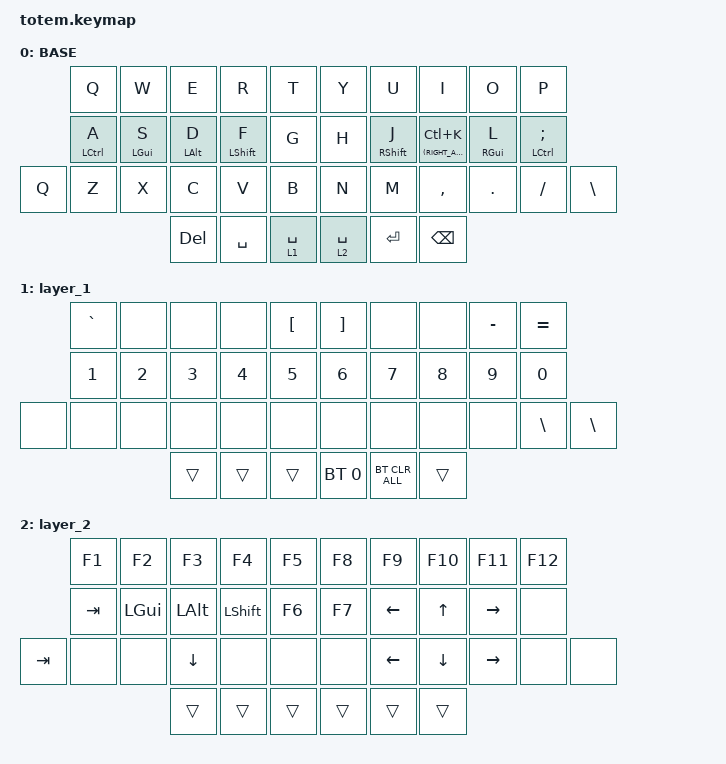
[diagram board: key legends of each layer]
//
//                                                        ▀▀▀▀▀     ▀▀▀▀▀          ▀▀█▀▀
//                                                        ▄▀▀▀▄  ▄  ▄▀▀▀▄  ▄  ▄▀▀▀▄  █  ▄▀▀▀▄
//                                                        █   █  █  █   █  █  █   █  █  █   █
//                                                         ▀▀▀   █   ▀▀▀   █   ▀▀▀   ▀   ▀▀▀
//                                                               █      ▄▄▄█▄▄▄    █   █  
//                                                               ▀      █  █  █     █▄█
//                                                             ▀▀▀▀▀    █  █  █      ▀
//                                                                      ▀  ▀  ▀
//
// ▄▄▄▄▄▄▄▄▄▄▄▄▄▄▄▄▄▄▄▄▄▄▄▄▄▄▄▄▄▄▄▄▄▄▄▄▄▄▄▄▄▄▄▄▄▄▄▄▄▄▄▄▄▄▄▄▄▄▄▄▄▄▄▄▄▄▄▄▄▄▄▄▄▄▄▄▄▄▄▄▄▄▄▄▄▄▄▄▄▄▄▄▄▄▄▄▄▄▄▄▄▄▄▄▄▄▄▄▄▄▄▄▄▄▄▄▄▄▄▄▄▄▄▄▄▄▄▄▄▄▄▄▄▄▄▄▄▄▄▄▄▄▄▄▄▄▄▄▄

#include <behaviors.dtsi>
#include <dt-bindings/zmk/bt.h>
#include <dt-bindings/zmk/keys.h>

#define BASE 0
#define NAV  1
#define SYM  2
#define ADJ  3
#define TVP1 4
#define TVP2 5

&mt {
    quick-tap-ms = <100>;
    global-quick-tap;
    flavor = "tap-preferred";
    tapping-term-ms = <170>;
};

/ {
    combos {
        compatible = "zmk,combos";

        combo_esc {
            timeout-ms = <50>;
            key-positions = <0 1>;
            bindings = <&Hm ESC GRAVE>;
        };
    };

    macros {
        gif: gif {
            label = "giphy";
            compatible = "zmk,behavior-macro";
            #binding-cells = <0>;
            bindings =
                <&macro_press>,
                <&kp LSHFT>,
                <&macro_tap>,
                <&kp N2>,
                <&macro_release>,
                <&kp LSHFT>,
                <&macro_tap>,
                <&kp G &kp I &kp F>;
        };
    };

    behaviors {
        Hm: Hm {
            compatible = "zmk,behavior-hold-tap";
            label = "HM";
            bindings = <&kp>, <&kp>;

            #binding-cells = <2>;
            tapping-term-ms = <239>;
            quick-tap-ms = <139>;
            require-prior-idle-ms = <(-1)>;
            flavor = "tap-preferred";
        };
    };

    keymap {
        compatible = "zmk,keymap";

        // ▄▄▄▄▄▄▄▄▄▄▄▄▄▄▄▄▄▄▄▄▄▄▄▄▄▄▄▄▄▄▄▄▄▄▄▄▄▄▄▄▄▄▄▄▄▄▄▄▄▄▄▄▄▄▄▄▄▄▄▄▄▄▄▄▄▄▄▄▄▄▄▄▄▄▄▄▄▄▄▄▄▄▄▄▄▄▄▄▄▄▄▄▄▄▄▄▄▄▄▄▄▄▄▄▄▄▄▄▄▄▄▄▄▄▄▄▄▄▄▄▄▄▄▄▄▄▄▄▄▄▄▄▄▄▄▄▄▄▄▄▄▄▄▄▄▄▄▄▄

        base_layer {
            // ┏━━━━━━━━━━━━━━━━━━━━━━━━━━━━━━━━━━━━━━━┓

            label = "BASE";

            // ┗━━━━━━━━━━━━━━━━━━━━━━━━━━━━━━━━━━━━━━━┛
            //             ┏━━━━━━━━━━━┳━━━━━━━━━━━┳━━━━━━━━━━━┳━━━━━━━━━━━┳━━━━━━━━━━━┓   ┏━━━━━━━━━━━┳━━━━━━━━━━━┳━━━━━━━━━━━┳━━━━━━━━━━━┳━━━━━━━━━━━┓
            //             ┃     Q     ┃     W     ┃     F     ┃     P     ┃     G     ┃   ┃     J     ┃     L     ┃     U     ┃     Y     ┃     ;     ┃
            //             ┣━━━━━━━━━━━╋━━━━━━━━━━━╋━━━━━━━━━━━╋━━━━━━━━━━━╋━━━━━━━━━━━┫   ┣━━━━━━━━━━━╋━━━━━━━━━━━╋━━━━━━━━━━━╋━━━━━━━━━━━╋━━━━━━━━━━━┫
            //             ┃     A     ┃     R     ┃     S     ┃     T     ┃     D     ┃   ┃     H     ┃     N     ┃     E     ┃     I     ┃     O     ┃
            // ┏━━━━━━━━━━━╋━━━━━━━━━━━╋━━━━━━━━━━━╋━━━━━━━━━━━╋━━━━━━━━━━━╋━━━━━━━━━━━┫   ┣━━━━━━━━━━━╋━━━━━━━━━━━╋━━━━━━━━━━━╋━━━━━━━━━━━╋━━━━━━━━━━━╋━━━━━━━━━━━┓
            // ┃     Q     ┃     Z     ┃     X     ┃     C     ┃     V     ┃     B     ┃   ┃     K     ┃     M     ┃     ,     ┃     .     ┃     /     ┃     \     ┃
            // ┗━━━━━━━━━━━┻━━━━━━━━━━━┻━━━━━━━━━━━╋━━━━━━━━━━━╋━━━━━━━━━━━╋━━━━━━━━━━━┫   ┣━━━━━━━━━━━╋━━━━━━━━━━━╋━━━━━━━━━━━╋━━━━━━━━━━━┻━━━━━━━━━━━┻━━━━━━━━━━━┛
            //                                     ┃    DEL    ┃    TAB    ┃    SPC    ┃   ┃   ENTER   ┃           ┃   BSPC    ┃
            //                                     ┗━━━━━━━━━━━┻━━━━━━━━━━━┻━━━━━━━━━━━┛   ┗━━━━━━━━━━━┻━━━━━━━━━━━┻━━━━━━━━━━━┛

            bindings = <
       &kp Q        &kp W           &kp E           &kp R        &kp T          &kp Y        &kp U        &kp I                  &kp O            &kp P
       &Hm LCTRL A  &Hm LEFT_GUI S  &Hm LEFT_ALT D  &Hm LSHFT F  &kp G          &kp H        &Hm RSHFT J  &Hm (RIGHT_ALT) LC(K)  &Hm RIGHT_GUI L  &Hm LCTRL SEMICOLON
&kp Q  &kp Z        &kp X           &kp C           &kp V        &kp B          &kp N        &kp M        &kp COMMA              &kp DOT          &kp FSLH             &kp BSLH
                                    &kp DEL         &kp SPACE    &lt 1 SPACE    &lt 2 SPACE  &kp ENTER    &kp BSPC
            >;
        };

        // ▄▄▄▄▄▄▄▄▄▄▄▄▄▄▄▄▄▄▄▄▄▄▄▄▄▄▄▄▄▄▄▄▄▄▄▄▄▄▄▄▄▄▄▄▄▄▄▄▄▄▄▄▄▄▄▄▄▄▄▄▄▄▄▄▄▄▄▄▄▄▄▄▄▄▄▄▄▄▄▄▄▄▄▄▄▄▄▄▄▄▄▄▄▄▄▄▄▄▄▄▄▄▄▄▄▄▄▄▄▄▄▄▄▄▄▄▄▄▄▄▄▄▄▄▄▄▄▄▄▄▄▄▄▄▄▄▄▄▄▄▄▄▄▄▄▄▄▄▄
        // ▄▄▄▄▄▄▄▄▄▄▄▄▄▄▄▄▄▄▄▄▄▄▄▄▄▄▄▄▄▄▄▄▄▄▄▄▄▄▄▄▄▄▄▄▄▄▄▄▄▄▄▄▄▄▄▄▄▄▄▄▄▄▄▄▄▄▄▄▄▄▄▄▄▄▄▄▄▄▄▄▄▄▄▄▄▄▄▄▄▄▄▄▄▄▄▄▄▄▄▄▄▄▄▄▄▄▄▄▄▄▄▄▄▄▄▄▄▄▄▄▄▄▄▄▄▄▄▄▄▄▄▄▄▄▄▄▄▄▄▄▄▄▄▄▄▄▄▄▄
        // ▄▄▄▄▄▄▄▄▄▄▄▄▄▄▄▄▄▄▄▄▄▄▄▄▄▄▄▄▄▄▄▄▄▄▄▄▄▄▄▄▄▄▄▄▄▄▄▄▄▄▄▄▄▄▄▄▄▄▄▄▄▄▄▄▄▄▄▄▄▄▄▄▄▄▄▄▄▄▄▄▄▄▄▄▄▄▄▄▄▄▄▄▄▄▄▄▄▄▄▄▄▄▄▄▄▄▄▄▄▄▄▄▄▄▄▄▄▄▄▄▄▄▄▄▄▄▄▄▄▄▄▄▄▄▄▄▄▄▄▄▄▄▄▄▄▄▄▄▄
        // ▄▄▄▄▄▄▄▄▄▄▄▄▄▄▄▄▄▄▄▄▄▄▄▄▄▄▄▄▄▄▄▄▄▄▄▄▄▄▄▄▄▄▄▄▄▄▄▄▄▄▄▄▄▄▄▄▄▄▄▄▄▄▄▄▄▄▄▄▄▄▄▄▄▄▄▄▄▄▄▄▄▄▄▄▄▄▄▄▄▄▄▄▄▄▄▄▄▄▄▄▄▄▄▄▄▄▄▄▄▄▄▄▄▄▄▄▄▄▄▄▄▄▄▄▄▄▄▄▄▄▄▄▄▄▄▄▄▄▄▄▄▄▄▄▄▄▄▄▄
        // ▄▄▄▄▄▄▄▄▄▄▄▄▄▄▄▄▄▄▄▄▄▄▄▄▄▄▄▄▄▄▄▄▄▄▄▄▄▄▄▄▄▄▄▄▄▄▄▄▄▄▄▄▄▄▄▄▄▄▄▄▄▄▄▄▄▄▄▄▄▄▄▄▄▄▄▄▄▄▄▄▄▄▄▄▄▄▄▄▄▄▄▄▄▄▄▄▄▄▄▄▄▄▄▄▄▄▄▄▄▄▄▄▄▄▄▄▄▄▄▄▄▄▄▄▄▄▄▄▄▄▄▄▄▄▄▄▄▄▄▄▄▄▄▄▄▄▄▄▄

        layer_1 {
            bindings = <
       &kp GRAVE  &none   &none   &none   &kp LBKT    &kp RBKT      &none           &none   &kp MINUS  &kp EQUAL
       &kp N1     &kp N2  &kp N3  &kp N4  &kp N5      &kp N6        &kp N7          &kp N8  &kp N9     &kp N0
&none  &none      &none   &none   &none   &none       &none         &none           &none   &none      &kp BSLH   &kp BSLH
                          &trans  &trans  &trans      &bt BT_SEL 0  &bt BT_CLR_ALL  &trans
            >;
        };

        layer_2 {
            bindings = <
         &kp F1   &kp F2        &kp F3        &kp F4          &kp F5    &kp F8  &kp F9    &kp F10   &kp F11    &kp F12
         &kp TAB  &kp LEFT_GUI  &kp LEFT_ALT  &kp LEFT_SHIFT  &kp F6    &kp F7  &kp LEFT  &kp UP    &kp RIGHT  &none
&kp TAB  &none    &none         &kp DOWN      &none           &none     &none   &kp LEFT  &kp DOWN  &kp RIGHT  &none    &none
                                &trans        &trans          &trans    &trans  &trans    &trans
            >;
        };
    };
};
